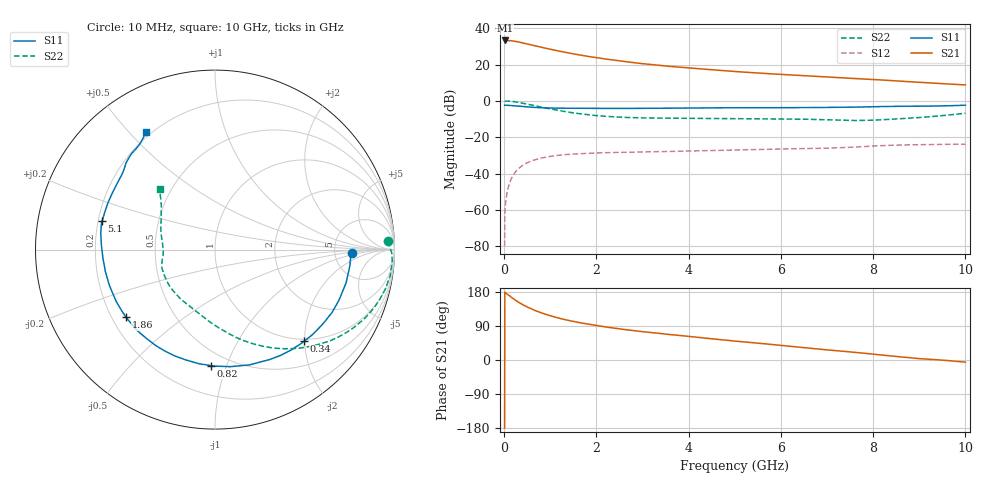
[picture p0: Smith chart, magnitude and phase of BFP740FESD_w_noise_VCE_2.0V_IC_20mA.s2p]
! Infineon Technologies  Discrete & RF Semiconductors
! BFP740FESD
! VCE =  2.0 V,  IC =  20 mA
! Common Emitter S-Parameters:  Jan 2016
# GHz  S  MA  R  50
!  f  S11  S21  S12  S22
! GHz  MAG  ANG  MAG  ANG  MAG  ANG  MAG  ANG
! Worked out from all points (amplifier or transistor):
!   233 points, 10 MHz to 10 GHz, reference 50 ohm
!   highest |S21| = 33.3 dB at 20 MHz (marker M1)
!   |S21| within 3 dB of that: start of sweep to 680 MHz
!   unconditionally stable (mu >= 1): start of sweep to 12.29 MHz; 5.63 GHz to end of sweep
!   at 200 MHz: K = 0.08, MSG = 36.9 dB, |S12| = -40.8 dB
!   at 1.74 GHz: K = 0.45, MSG = 26.9 dB, |S12| = -28.9 dB
!   at 10 GHz: K = 1.20, MAG = 13.6 dB, |S12| = -23.8 dB
!   lowest NFmin = 0.80 dB at 450 MHz
!   S11 on the Smith chart (normalised r, x): 10 MHz: 7.30, -0.74; 340 MHz: 0.96, -1.99; 820 MHz: 0.40, -0.88; 1.86 GHz: 0.26, -0.31; 5.1 GHz: 0.22, +0.12; 10 GHz: 0.18, +0.56
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0.01  0.7611 -1.6  45.89 -179.9  0.0001 44.7  0.9638 2.8
0.02  0.7575 -3.0  46.09 178.2  0.0011 92.6  0.985 -1.1
0.1  0.7535 -14.2  45.98 171.0  0.0046 83.6  0.9865 -8.6
0.15  0.7472 -21.4  45.35 166.1  0.007 79.5  0.9744 -13.0
0.26  0.7275 -35.9  43.01 156.5  0.0116 72.4  0.9327 -22.1
0.34  0.7124 -45.8  41.12 150.5  0.0146 68.0  0.8953 -28.1
0.45  0.6933 -58.3  38.25 142.9  0.0183 62.5  0.8412 -35.5
0.58  0.6713 -71.5  34.94 135.2  0.0219 56.8  0.7758 -43.2
0.7  0.6579 -82.5  32.19 129.1  0.0247 52.3  0.7211 -49.7
0.82  0.6466 -92.0  29.64 123.8  0.0269 48.5  0.67 -55.5
1  0.6359 -104.8  26.38 116.7  0.0297 43.6  0.6023 -63.5
1.2  0.6302 -116.5  23.34 110.0  0.0321 39.1  0.5397 -71.5
1.4  0.6258 -126.3  20.78 104.3  0.0337 35.6  0.4884 -78.6
1.68  0.6235 -137.2  17.99 97.6  0.0354 32.0  0.4357 -87.4
1.86  0.6226 -143.0  16.47 93.8  0.0362 30.4  0.4107 -92.5
2.2  0.6214 -152.3  14.2 87.2  0.0374 27.9  0.376 -101.2
2.54  0.6204 -160.1  12.45 81.5  0.0383 26.1  0.3543 -109.3
3.4  0.6248 -174.4  9.408 69.8  0.04 24.5  0.3361 -123.3
5.1  0.649 165.9  6.312 48.9  0.0447 24.3  0.3234 -142.7
6.8  0.6567 147.0  4.688 29.1  0.0494 24.4  0.306 -165.0
8.4  0.7049 132.2  3.624 10.5  0.06 23.7  0.3125 163.9
10  0.7592 120.5  2.755 -5.7  0.0644 17.1  0.4568 132.6
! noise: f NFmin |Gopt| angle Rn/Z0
0.45  0.8  0.01  -145  0.08
2.4  0.82  0.04  -161  0.09
5.5  0.98  0.22  166  0.08
10  1.49  0.37  -124  0.16
